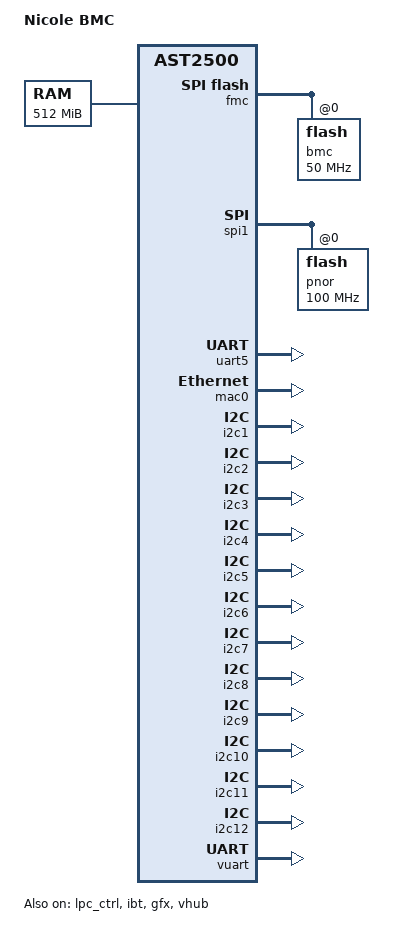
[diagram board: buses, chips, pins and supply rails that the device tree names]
// SPDX-License-Identifier: GPL-2.0+
/dts-v1/;
#include "aspeed-g5.dtsi"
#include <dt-bindings/gpio/aspeed-gpio.h>

/ {
	model = "Nicole BMC";
	compatible = "justecotech,justeco-bmc", "aspeed,ast2500";

	chosen {
		stdout-path = &uart5;
		bootargs = "console=ttyS4,115200 earlyprintk";
	};

	memory@80000000 {
		reg = <0x80000000 0x20000000>;
	};

	reserved-memory {
		#address-cells = <1>;
		#size-cells = <1>;
		ranges;

		vga_memory: framebuffer@9f000000 {
			no-map;
			reg = <0x9f000000 0x01000000>; /* 16M */
		};

		flash_memory: region@98000000 {
			no-map;
			reg = <0x98000000 0x04000000>; /* 64M */
		};

		coldfire_memory: codefire_memory@9ef00000 {
			reg = <0x9ef00000 0x00100000>;
			no-map;
		};

		gfx_memory: framebuffer {
			size = <0x01000000>;
			alignment = <0x01000000>;
			compatible = "shared-dma-pool";
			reusable;
		};
	};

	// fsi: gpio-fsi {
	// 	compatible = "aspeed,ast2500-cf-fsi-master", "fsi-master";
	// 	#address-cells = <2>;
	// 	#size-cells = <0>;
	// 	no-gpio-delays;

	// 	memory-region = <&coldfire_memory>;
	// 	aspeed,sram = <&sram>;
	// 	aspeed,cvic = <&cvic>;

	// 	clock-gpios = <&gpio ASPEED_GPIO(AA, 0) GPIO_ACTIVE_HIGH>;
	// 	data-gpios = <&gpio ASPEED_GPIO(AA, 2) GPIO_ACTIVE_HIGH>;
	// 	mux-gpios = <&gpio ASPEED_GPIO(A, 6) GPIO_ACTIVE_HIGH>;
	// 	enable-gpios = <&gpio ASPEED_GPIO(D, 0) GPIO_ACTIVE_HIGH>;
	// 	trans-gpios = <&gpio ASPEED_GPIO(R, 2) GPIO_ACTIVE_HIGH>;
	// };
};

&fmc {
	status = "okay";
	flash@0 {
		status = "okay";
		m25p,fast-read;
		label = "bmc";
		spi-max-frequency = <50000000>;
#include "openbmc-flash-layout.dtsi"
	};
};

&spi1 {
	status = "okay";
	pinctrl-names = "default";
	pinctrl-0 = <&pinctrl_spi1_default>;

	flash@0 {
		status = "okay";
		m25p,fast-read;
		label = "pnor";
		spi-max-frequency = <100000000>;
	};
};

&lpc_ctrl {
	status = "okay";
	memory-region = <&flash_memory>;
	flash = <&spi1>;
};

&mbox {
	status = "okay";
};

// &uart1 {
// 	/* Rear RS-232 connector */
// 	status = "okay";

// 	pinctrl-names = "default";
// 	pinctrl-0 = <&pinctrl_txd1_default
// 			&pinctrl_rxd1_default
// 			&pinctrl_nrts1_default
// 			&pinctrl_ndtr1_default
// 			&pinctrl_ndsr1_default
// 			&pinctrl_ncts1_default
// 			&pinctrl_ndcd1_default
// 			&pinctrl_nri1_default>;
// };

&uart5 {
	status = "okay";
};

&mac0 {
	status = "okay";

	use-ncsi;

	pinctrl-names = "default";
	pinctrl-0 = <&pinctrl_rmii1_default>;
};

&i2c1 {
	status = "okay";
};

&i2c2 {
	status = "okay";
};

&i2c3 {
	status = "okay";
};

&i2c4 {
	status = "okay";
};

&i2c5 {
	status = "okay";
};

&i2c6 {
	/* PCIe slot 1 (x8) */
	status = "okay";
};

&i2c7 {
	/* PCIe slot 2 (x16) */
	status = "okay";
};

&i2c8 {
	/* PCIe slot 3 (x16) */
	status = "okay";
};

&i2c9 {
	/* PCIe slot 4 (x16) */
	status = "okay";
};

&i2c10 {
	/* PCIe slot 5 (x8) */
	status = "okay";
};

&i2c11 {
	status = "okay";
};

&i2c12 {
	status = "okay";
};

&vuart {
	status = "okay";
};

// &gfx {
// 	status = "okay";
// };

&pinctrl {
	//aspeed,external-nodes = <&gfx &lhc>;
	aspeed,external-nodes = <&lhc>;
};

&ibt {
	status = "okay";
};

//#include "ibm-power9-dual.dtsi"

&gfx {
     status = "okay";
     memory-region = <&gfx_memory>;
};

&vhub {
	status = "okay";
};
